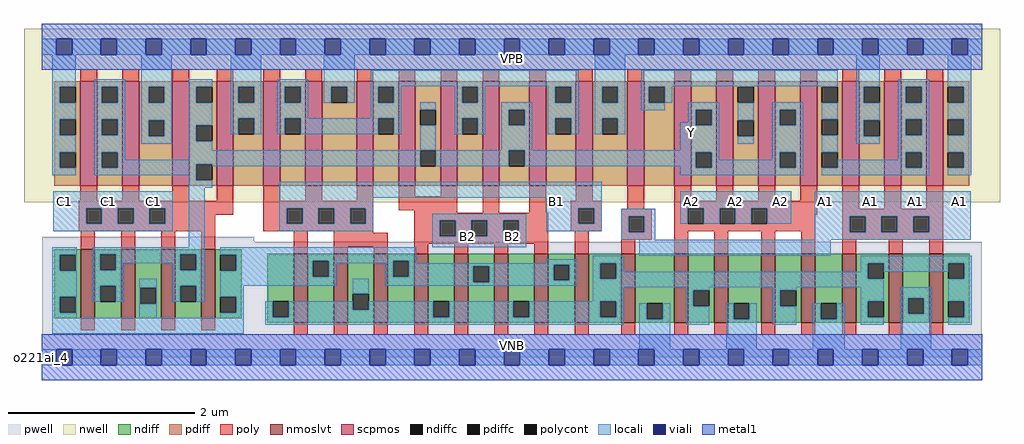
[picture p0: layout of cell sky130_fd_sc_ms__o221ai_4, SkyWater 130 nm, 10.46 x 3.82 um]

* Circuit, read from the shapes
.subckt sky130_fd_sc_ms__o221ai_4 A1 A2 B1 B2 C1 VGND VNB VPB VPWR Y
XM1 Y C1 n1 VNB sky130_fd_pr__nfet_01v8_lvt w=0.74 l=0.15 m=4
XM2 n1 B1 n2 VNB sky130_fd_pr__nfet_01v8_lvt w=0.74 l=0.15 m=4
XM3 n2 B2 n1 VNB sky130_fd_pr__nfet_01v8_lvt w=0.74 l=0.15 m=4
XM4 VGND A1 n2 VNB sky130_fd_pr__nfet_01v8_lvt w=0.74 l=0.15 m=4
XM5 n2 A2 VGND VNB sky130_fd_pr__nfet_01v8_lvt w=0.74 l=0.15 m=4
XM6 Y C1 VPWR VPB sky130_fd_pr__pfet_01v8 w=1.12 l=0.18 m=4
XM7 n3 B1 VPWR VPB sky130_fd_pr__pfet_01v8 w=1.12 l=0.18 m=4
XM8 Y B2 n3 VPB sky130_fd_pr__pfet_01v8 w=1.12 l=0.18 m=4
XM9 n4 A1 VPWR VPB sky130_fd_pr__pfet_01v8 w=1.12 l=0.18 m=4
XM10 Y A2 n4 VPB sky130_fd_pr__pfet_01v8 w=1.12 l=0.18 m=4
.ends

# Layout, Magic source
magic
tech sky130A
magscale 1 2
<< nwell >>
rect -38 332 2054 704
<< pwell >>
rect 1 248 455 258
rect 1 49 2015 248
rect 0 0 2016 49
<< scpmos >>
rect 83 368 119 592
rect 173 368 209 592
rect 280 368 316 592
rect 375 368 411 592
rect 475 368 511 592
rect 565 368 601 592
rect 675 368 711 592
rect 765 368 801 592
rect 855 368 891 592
rect 945 368 981 592
rect 1045 368 1081 592
rect 1145 368 1181 592
rect 1255 368 1291 592
rect 1356 368 1392 592
rect 1446 368 1482 592
rect 1536 368 1572 592
rect 1626 368 1662 592
rect 1716 368 1752 592
rect 1806 368 1842 592
rect 1896 368 1932 592
<< nmoslvt >>
rect 84 84 114 232
rect 170 84 200 232
rect 256 84 286 232
rect 342 84 372 232
rect 540 74 570 222
rect 626 74 656 222
rect 712 74 742 222
rect 798 74 828 222
rect 884 74 914 222
rect 970 74 1000 222
rect 1056 74 1086 222
rect 1142 74 1172 222
rect 1242 74 1272 222
rect 1356 74 1386 222
rect 1442 74 1472 222
rect 1542 74 1572 222
rect 1628 74 1658 222
rect 1716 74 1746 222
rect 1816 74 1846 222
rect 1902 74 1932 222
<< ndiff >>
rect 27 220 84 232
rect 27 186 39 220
rect 73 186 84 220
rect 27 130 84 186
rect 27 96 39 130
rect 73 96 84 130
rect 27 84 84 96
rect 114 221 170 232
rect 114 187 125 221
rect 159 187 170 221
rect 114 153 170 187
rect 114 119 125 153
rect 159 119 170 153
rect 114 84 170 119
rect 200 149 256 232
rect 200 115 211 149
rect 245 115 256 149
rect 200 84 256 115
rect 286 221 342 232
rect 286 187 297 221
rect 331 187 342 221
rect 286 153 342 187
rect 286 119 297 153
rect 331 119 342 153
rect 286 84 342 119
rect 372 220 429 232
rect 372 186 383 220
rect 417 186 429 220
rect 372 130 429 186
rect 372 96 383 130
rect 417 96 429 130
rect 372 84 429 96
rect 483 120 540 222
rect 483 86 495 120
rect 529 86 540 120
rect 483 74 540 86
rect 570 207 626 222
rect 570 173 581 207
rect 615 173 626 207
rect 570 74 626 173
rect 656 136 712 222
rect 656 102 667 136
rect 701 102 712 136
rect 656 74 712 102
rect 742 207 798 222
rect 742 173 753 207
rect 787 173 798 207
rect 742 74 798 173
rect 828 120 884 222
rect 828 86 839 120
rect 873 86 884 120
rect 828 74 884 86
rect 914 195 970 222
rect 914 161 925 195
rect 959 161 970 195
rect 914 74 970 161
rect 1000 120 1056 222
rect 1000 86 1011 120
rect 1045 86 1056 120
rect 1000 74 1056 86
rect 1086 199 1142 222
rect 1086 165 1097 199
rect 1131 165 1142 199
rect 1086 74 1142 165
rect 1172 202 1242 222
rect 1172 168 1197 202
rect 1231 168 1242 202
rect 1172 120 1242 168
rect 1172 86 1197 120
rect 1231 86 1242 120
rect 1172 74 1242 86
rect 1272 116 1356 222
rect 1272 82 1297 116
rect 1331 82 1356 116
rect 1272 74 1356 82
rect 1386 144 1442 222
rect 1386 110 1397 144
rect 1431 110 1442 144
rect 1386 74 1442 110
rect 1472 116 1542 222
rect 1472 82 1483 116
rect 1517 82 1542 116
rect 1472 74 1542 82
rect 1572 144 1628 222
rect 1572 110 1583 144
rect 1617 110 1628 144
rect 1572 74 1628 110
rect 1658 116 1716 222
rect 1658 82 1670 116
rect 1704 82 1716 116
rect 1658 74 1716 82
rect 1746 202 1816 222
rect 1746 168 1771 202
rect 1805 168 1816 202
rect 1746 120 1816 168
rect 1746 86 1771 120
rect 1805 86 1816 120
rect 1746 74 1816 86
rect 1846 127 1902 222
rect 1846 93 1857 127
rect 1891 93 1902 127
rect 1846 74 1902 93
rect 1932 202 1989 222
rect 1932 168 1943 202
rect 1977 168 1989 202
rect 1932 120 1989 168
rect 1932 86 1943 120
rect 1977 86 1989 120
rect 1932 74 1989 86
<< pdiff >>
rect 27 580 83 592
rect 27 546 39 580
rect 73 546 83 580
rect 27 510 83 546
rect 27 476 39 510
rect 73 476 83 510
rect 27 440 83 476
rect 27 406 39 440
rect 73 406 83 440
rect 27 368 83 406
rect 119 580 173 592
rect 119 546 129 580
rect 163 546 173 580
rect 119 510 173 546
rect 119 476 129 510
rect 163 476 173 510
rect 119 440 173 476
rect 119 406 129 440
rect 163 406 173 440
rect 119 368 173 406
rect 209 580 280 592
rect 209 546 229 580
rect 263 546 280 580
rect 209 508 280 546
rect 209 474 229 508
rect 263 474 280 508
rect 209 368 280 474
rect 316 580 375 592
rect 316 546 331 580
rect 365 546 375 580
rect 316 497 375 546
rect 316 463 331 497
rect 365 463 375 497
rect 316 414 375 463
rect 316 380 331 414
rect 365 380 375 414
rect 316 368 375 380
rect 411 580 475 592
rect 411 546 421 580
rect 455 546 475 580
rect 411 512 475 546
rect 411 478 421 512
rect 455 478 475 512
rect 411 368 475 478
rect 511 580 565 592
rect 511 546 521 580
rect 555 546 565 580
rect 511 512 565 546
rect 511 478 521 512
rect 555 478 565 512
rect 511 368 565 478
rect 601 580 675 592
rect 601 546 621 580
rect 655 546 675 580
rect 601 368 675 546
rect 711 580 765 592
rect 711 546 721 580
rect 755 546 765 580
rect 711 512 765 546
rect 711 478 721 512
rect 755 478 765 512
rect 711 368 765 478
rect 801 531 855 592
rect 801 497 811 531
rect 845 497 855 531
rect 801 444 855 497
rect 801 410 811 444
rect 845 410 855 444
rect 801 368 855 410
rect 891 580 945 592
rect 891 546 901 580
rect 935 546 945 580
rect 891 512 945 546
rect 891 478 901 512
rect 935 478 945 512
rect 891 368 945 478
rect 981 531 1045 592
rect 981 497 1001 531
rect 1035 497 1045 531
rect 981 444 1045 497
rect 981 410 1001 444
rect 1035 410 1045 444
rect 981 368 1045 410
rect 1081 580 1145 592
rect 1081 546 1101 580
rect 1135 546 1145 580
rect 1081 512 1145 546
rect 1081 478 1101 512
rect 1135 478 1145 512
rect 1081 368 1145 478
rect 1181 580 1255 592
rect 1181 546 1201 580
rect 1235 546 1255 580
rect 1181 512 1255 546
rect 1181 478 1201 512
rect 1235 478 1255 512
rect 1181 368 1255 478
rect 1291 580 1356 592
rect 1291 546 1301 580
rect 1335 546 1356 580
rect 1291 368 1356 546
rect 1392 531 1446 592
rect 1392 497 1402 531
rect 1436 497 1446 531
rect 1392 440 1446 497
rect 1392 406 1402 440
rect 1436 406 1446 440
rect 1392 368 1446 406
rect 1482 580 1536 592
rect 1482 546 1492 580
rect 1526 546 1536 580
rect 1482 508 1536 546
rect 1482 474 1492 508
rect 1526 474 1536 508
rect 1482 368 1536 474
rect 1572 531 1626 592
rect 1572 497 1582 531
rect 1616 497 1626 531
rect 1572 440 1626 497
rect 1572 406 1582 440
rect 1616 406 1626 440
rect 1572 368 1626 406
rect 1662 580 1716 592
rect 1662 546 1672 580
rect 1706 546 1716 580
rect 1662 510 1716 546
rect 1662 476 1672 510
rect 1706 476 1716 510
rect 1662 440 1716 476
rect 1662 406 1672 440
rect 1706 406 1716 440
rect 1662 368 1716 406
rect 1752 580 1806 592
rect 1752 546 1762 580
rect 1796 546 1806 580
rect 1752 508 1806 546
rect 1752 474 1762 508
rect 1796 474 1806 508
rect 1752 368 1806 474
rect 1842 580 1896 592
rect 1842 546 1852 580
rect 1886 546 1896 580
rect 1842 510 1896 546
rect 1842 476 1852 510
rect 1886 476 1896 510
rect 1842 440 1896 476
rect 1842 406 1852 440
rect 1886 406 1896 440
rect 1842 368 1896 406
rect 1932 580 1988 592
rect 1932 546 1942 580
rect 1976 546 1988 580
rect 1932 510 1988 546
rect 1932 476 1942 510
rect 1976 476 1988 510
rect 1932 440 1988 476
rect 1932 406 1942 440
rect 1976 406 1988 440
rect 1932 368 1988 406
<< ndiffc >>
rect 39 186 73 220
rect 39 96 73 130
rect 125 187 159 221
rect 125 119 159 153
rect 211 115 245 149
rect 297 187 331 221
rect 297 119 331 153
rect 383 186 417 220
rect 383 96 417 130
rect 495 86 529 120
rect 581 173 615 207
rect 667 102 701 136
rect 753 173 787 207
rect 839 86 873 120
rect 925 161 959 195
rect 1011 86 1045 120
rect 1097 165 1131 199
rect 1197 168 1231 202
rect 1197 86 1231 120
rect 1297 82 1331 116
rect 1397 110 1431 144
rect 1483 82 1517 116
rect 1583 110 1617 144
rect 1670 82 1704 116
rect 1771 168 1805 202
rect 1771 86 1805 120
rect 1857 93 1891 127
rect 1943 168 1977 202
rect 1943 86 1977 120
<< pdiffc >>
rect 39 546 73 580
rect 39 476 73 510
rect 39 406 73 440
rect 129 546 163 580
rect 129 476 163 510
rect 129 406 163 440
rect 229 546 263 580
rect 229 474 263 508
rect 331 546 365 580
rect 331 463 365 497
rect 331 380 365 414
rect 421 546 455 580
rect 421 478 455 512
rect 521 546 555 580
rect 521 478 555 512
rect 621 546 655 580
rect 721 546 755 580
rect 721 478 755 512
rect 811 497 845 531
rect 811 410 845 444
rect 901 546 935 580
rect 901 478 935 512
rect 1001 497 1035 531
rect 1001 410 1035 444
rect 1101 546 1135 580
rect 1101 478 1135 512
rect 1201 546 1235 580
rect 1201 478 1235 512
rect 1301 546 1335 580
rect 1402 497 1436 531
rect 1402 406 1436 440
rect 1492 546 1526 580
rect 1492 474 1526 508
rect 1582 497 1616 531
rect 1582 406 1616 440
rect 1672 546 1706 580
rect 1672 476 1706 510
rect 1672 406 1706 440
rect 1762 546 1796 580
rect 1762 474 1796 508
rect 1852 546 1886 580
rect 1852 476 1886 510
rect 1852 406 1886 440
rect 1942 546 1976 580
rect 1942 476 1976 510
rect 1942 406 1976 440
<< poly >>
rect 83 592 119 618
rect 173 592 209 618
rect 280 592 316 618
rect 375 592 411 618
rect 475 592 511 618
rect 565 592 601 618
rect 675 592 711 618
rect 765 592 801 618
rect 855 592 891 618
rect 945 592 981 618
rect 1045 592 1081 618
rect 1145 592 1181 618
rect 1255 592 1291 618
rect 1356 592 1392 618
rect 1446 592 1482 618
rect 1536 592 1572 618
rect 1626 592 1662 618
rect 1716 592 1752 618
rect 1806 592 1842 618
rect 1896 592 1932 618
rect 83 336 119 368
rect 173 336 209 368
rect 280 336 316 368
rect 375 336 411 368
rect 79 320 411 336
rect 79 286 95 320
rect 129 286 163 320
rect 197 286 231 320
rect 265 306 411 320
rect 475 336 511 368
rect 565 336 601 368
rect 675 336 711 368
rect 475 320 711 336
rect 265 286 372 306
rect 79 270 372 286
rect 475 286 525 320
rect 559 286 593 320
rect 627 286 661 320
rect 695 286 711 320
rect 765 345 801 368
rect 855 345 891 368
rect 765 315 891 345
rect 475 270 711 286
rect 84 232 114 270
rect 170 232 200 270
rect 256 232 286 270
rect 342 232 372 270
rect 540 222 570 270
rect 626 267 711 270
rect 798 310 891 315
rect 945 310 981 368
rect 1045 310 1081 368
rect 1145 336 1181 368
rect 1134 320 1200 336
rect 798 294 1086 310
rect 626 237 742 267
rect 626 222 656 237
rect 712 222 742 237
rect 798 260 853 294
rect 887 260 921 294
rect 955 260 989 294
rect 1023 260 1086 294
rect 1134 286 1150 320
rect 1184 286 1200 320
rect 1255 318 1291 368
rect 1356 336 1392 368
rect 1446 336 1482 368
rect 1536 336 1572 368
rect 1626 336 1662 368
rect 1356 320 1662 336
rect 1134 270 1200 286
rect 1242 302 1308 318
rect 798 244 1086 260
rect 798 222 828 244
rect 884 222 914 244
rect 970 222 1000 244
rect 1056 222 1086 244
rect 1142 222 1172 270
rect 1242 268 1258 302
rect 1292 268 1308 302
rect 1242 252 1308 268
rect 1356 286 1385 320
rect 1419 286 1453 320
rect 1487 286 1521 320
rect 1555 306 1662 320
rect 1716 318 1752 368
rect 1806 318 1842 368
rect 1896 318 1932 368
rect 1555 286 1658 306
rect 1356 270 1658 286
rect 1242 222 1272 252
rect 1356 222 1386 270
rect 1442 222 1472 270
rect 1542 222 1572 270
rect 1628 222 1658 270
rect 1716 302 1932 318
rect 1716 268 1732 302
rect 1766 268 1800 302
rect 1834 268 1868 302
rect 1902 268 1932 302
rect 1716 252 1932 268
rect 1716 222 1746 252
rect 1816 222 1846 252
rect 1902 222 1932 252
rect 84 58 114 84
rect 170 58 200 84
rect 256 58 286 84
rect 342 58 372 84
rect 540 48 570 74
rect 626 48 656 74
rect 712 48 742 74
rect 798 48 828 74
rect 884 48 914 74
rect 970 48 1000 74
rect 1056 48 1086 74
rect 1142 48 1172 74
rect 1242 48 1272 74
rect 1356 48 1386 74
rect 1442 48 1472 74
rect 1542 48 1572 74
rect 1628 48 1658 74
rect 1716 48 1746 74
rect 1816 48 1846 74
rect 1902 48 1932 74
<< polycont >>
rect 95 286 129 320
rect 163 286 197 320
rect 231 286 265 320
rect 525 286 559 320
rect 593 286 627 320
rect 661 286 695 320
rect 853 260 887 294
rect 921 260 955 294
rect 989 260 1023 294
rect 1150 286 1184 320
rect 1258 268 1292 302
rect 1385 286 1419 320
rect 1453 286 1487 320
rect 1521 286 1555 320
rect 1732 268 1766 302
rect 1800 268 1834 302
rect 1868 268 1902 302
<< locali >>
rect 0 649 31 683
rect 65 649 127 683
rect 161 649 223 683
rect 257 649 319 683
rect 353 649 415 683
rect 449 649 511 683
rect 545 649 607 683
rect 641 649 703 683
rect 737 649 799 683
rect 833 649 895 683
rect 929 649 991 683
rect 1025 649 1087 683
rect 1121 649 1183 683
rect 1217 649 1279 683
rect 1313 649 1375 683
rect 1409 649 1471 683
rect 1505 649 1567 683
rect 1601 649 1663 683
rect 1697 649 1759 683
rect 1793 649 1855 683
rect 1889 649 1951 683
rect 1985 649 2016 683
rect 23 580 73 649
rect 23 546 39 580
rect 23 510 73 546
rect 23 476 39 510
rect 23 440 73 476
rect 23 406 39 440
rect 23 390 73 406
rect 113 580 179 596
rect 113 546 129 580
rect 163 546 179 580
rect 113 510 179 546
rect 113 476 129 510
rect 163 476 179 510
rect 113 440 179 476
rect 213 580 279 649
rect 213 546 229 580
rect 263 546 279 580
rect 213 508 279 546
rect 213 474 229 508
rect 263 474 279 508
rect 213 458 279 474
rect 315 580 365 596
rect 315 546 331 580
rect 315 497 365 546
rect 315 463 331 497
rect 405 580 471 649
rect 405 546 421 580
rect 455 546 471 580
rect 405 512 471 546
rect 405 478 421 512
rect 455 478 471 512
rect 505 580 571 596
rect 505 546 521 580
rect 555 546 571 580
rect 605 580 671 649
rect 605 546 621 580
rect 655 546 671 580
rect 705 581 1151 615
rect 705 580 771 581
rect 705 546 721 580
rect 755 546 771 580
rect 885 580 951 581
rect 505 512 571 546
rect 705 512 771 546
rect 505 478 521 512
rect 555 478 721 512
rect 755 478 771 512
rect 811 531 845 547
rect 113 406 129 440
rect 163 424 179 440
rect 315 444 365 463
rect 811 444 845 497
rect 885 546 901 580
rect 935 546 951 580
rect 1085 580 1151 581
rect 885 512 951 546
rect 885 478 901 512
rect 935 478 951 512
rect 985 531 1051 547
rect 985 497 1001 531
rect 1035 497 1051 531
rect 985 444 1051 497
rect 1085 546 1101 580
rect 1135 546 1151 580
rect 1085 512 1151 546
rect 1085 478 1101 512
rect 1135 478 1151 512
rect 1185 580 1251 649
rect 1185 546 1201 580
rect 1235 546 1251 580
rect 1185 512 1251 546
rect 1285 581 1706 615
rect 1285 580 1352 581
rect 1285 546 1301 580
rect 1335 546 1352 580
rect 1492 580 1526 581
rect 1285 530 1335 546
rect 1386 531 1452 547
rect 1185 478 1201 512
rect 1235 478 1251 512
rect 1386 504 1402 531
rect 1369 497 1402 504
rect 1436 497 1452 531
rect 1369 444 1452 497
rect 1672 580 1706 581
rect 1492 508 1526 546
rect 1492 458 1526 474
rect 1566 531 1632 547
rect 1566 497 1582 531
rect 1616 497 1632 531
rect 315 424 811 444
rect 163 414 811 424
rect 163 406 331 414
rect 113 390 331 406
rect 315 380 331 390
rect 365 410 811 414
rect 845 410 1001 444
rect 1035 440 1452 444
rect 1035 410 1402 440
rect 1369 406 1402 410
rect 1436 424 1452 440
rect 1566 440 1632 497
rect 1566 424 1582 440
rect 1436 406 1582 424
rect 1616 406 1632 440
rect 1369 390 1632 406
rect 1672 510 1706 546
rect 1672 440 1706 476
rect 1746 580 1796 649
rect 1746 546 1762 580
rect 1746 508 1796 546
rect 1746 474 1762 508
rect 1746 458 1796 474
rect 1836 580 1902 596
rect 1836 546 1852 580
rect 1886 546 1902 580
rect 1836 510 1902 546
rect 1836 476 1852 510
rect 1886 476 1902 510
rect 1836 440 1902 476
rect 1836 424 1852 440
rect 1706 406 1852 424
rect 1886 406 1902 440
rect 1672 390 1902 406
rect 1942 580 1992 649
rect 1976 546 1992 580
rect 1942 510 1992 546
rect 1976 476 1992 510
rect 1942 440 1992 476
rect 1976 406 1992 440
rect 1942 390 1992 406
rect 315 364 365 380
rect 25 320 281 356
rect 25 286 95 320
rect 129 286 163 320
rect 197 286 231 320
rect 265 286 281 320
rect 25 270 281 286
rect 315 236 349 364
rect 509 342 1200 376
rect 509 320 711 342
rect 509 286 525 320
rect 559 286 593 320
rect 627 286 661 320
rect 695 286 711 320
rect 1081 320 1200 342
rect 509 270 711 286
rect 837 294 1039 308
rect 837 260 853 294
rect 887 260 921 294
rect 955 260 989 294
rect 1023 260 1039 294
rect 1081 286 1150 320
rect 1184 286 1200 320
rect 1369 320 1607 356
rect 1081 270 1200 286
rect 1242 302 1315 318
rect 837 236 1039 260
rect 1242 268 1258 302
rect 1292 268 1315 302
rect 1369 286 1385 320
rect 1419 286 1453 320
rect 1487 286 1521 320
rect 1555 286 1607 320
rect 1657 302 1991 356
rect 1242 252 1315 268
rect 1657 268 1732 302
rect 1766 268 1800 302
rect 1834 268 1868 302
rect 1902 268 1991 302
rect 1657 252 1991 268
rect 23 220 75 236
rect 23 186 39 220
rect 73 186 75 220
rect 23 130 75 186
rect 23 96 39 130
rect 73 96 75 130
rect 109 221 349 236
rect 109 187 125 221
rect 159 202 297 221
rect 159 187 175 202
rect 109 153 175 187
rect 281 187 297 202
rect 331 187 349 221
rect 109 119 125 153
rect 159 119 175 153
rect 209 149 247 168
rect 23 85 75 96
rect 209 115 211 149
rect 245 115 247 149
rect 281 153 349 187
rect 281 119 297 153
rect 331 119 349 153
rect 383 220 803 236
rect 417 207 803 220
rect 1281 218 1691 252
rect 417 186 581 207
rect 383 173 581 186
rect 615 202 753 207
rect 615 173 631 202
rect 383 154 631 173
rect 737 173 753 202
rect 787 202 803 207
rect 1081 202 1147 210
rect 787 199 1147 202
rect 787 195 1097 199
rect 787 173 925 195
rect 383 130 433 154
rect 209 85 247 115
rect 417 96 433 130
rect 667 136 701 168
rect 737 161 925 173
rect 959 165 1097 195
rect 1131 165 1147 199
rect 959 161 1147 165
rect 737 154 1147 161
rect 1181 202 1247 218
rect 1181 168 1197 202
rect 1231 184 1247 202
rect 1755 202 1993 218
rect 1755 184 1771 202
rect 1231 168 1771 184
rect 1805 184 1943 202
rect 383 85 433 96
rect 23 51 433 85
rect 479 86 495 120
rect 529 102 667 120
rect 1181 150 1805 168
rect 1977 168 1993 202
rect 1181 120 1247 150
rect 701 102 839 120
rect 529 86 839 102
rect 873 86 1011 120
rect 1045 86 1197 120
rect 1231 86 1247 120
rect 1381 144 1431 150
rect 479 70 1247 86
rect 1281 82 1297 116
rect 1331 82 1347 116
rect 1281 17 1347 82
rect 1381 110 1397 144
rect 1567 144 1617 150
rect 1381 70 1431 110
rect 1467 82 1483 116
rect 1517 82 1533 116
rect 1467 17 1533 82
rect 1567 110 1583 144
rect 1755 120 1805 150
rect 1567 70 1617 110
rect 1653 82 1670 116
rect 1704 82 1721 116
rect 1653 17 1721 82
rect 1755 86 1771 120
rect 1755 70 1805 86
rect 1841 127 1907 150
rect 1841 93 1857 127
rect 1891 93 1907 127
rect 1841 17 1907 93
rect 1943 120 1993 168
rect 1977 86 1993 120
rect 1943 70 1993 86
rect 0 -17 31 17
rect 65 -17 127 17
rect 161 -17 223 17
rect 257 -17 319 17
rect 353 -17 415 17
rect 449 -17 511 17
rect 545 -17 607 17
rect 641 -17 703 17
rect 737 -17 799 17
rect 833 -17 895 17
rect 929 -17 991 17
rect 1025 -17 1087 17
rect 1121 -17 1183 17
rect 1217 -17 1279 17
rect 1313 -17 1375 17
rect 1409 -17 1471 17
rect 1505 -17 1567 17
rect 1601 -17 1663 17
rect 1697 -17 1759 17
rect 1793 -17 1855 17
rect 1889 -17 1951 17
rect 1985 -17 2016 17
<< viali >>
rect 31 649 65 683
rect 127 649 161 683
rect 223 649 257 683
rect 319 649 353 683
rect 415 649 449 683
rect 511 649 545 683
rect 607 649 641 683
rect 703 649 737 683
rect 799 649 833 683
rect 895 649 929 683
rect 991 649 1025 683
rect 1087 649 1121 683
rect 1183 649 1217 683
rect 1279 649 1313 683
rect 1375 649 1409 683
rect 1471 649 1505 683
rect 1567 649 1601 683
rect 1663 649 1697 683
rect 1759 649 1793 683
rect 1855 649 1889 683
rect 1951 649 1985 683
rect 31 -17 65 17
rect 127 -17 161 17
rect 223 -17 257 17
rect 319 -17 353 17
rect 415 -17 449 17
rect 511 -17 545 17
rect 607 -17 641 17
rect 703 -17 737 17
rect 799 -17 833 17
rect 895 -17 929 17
rect 991 -17 1025 17
rect 1087 -17 1121 17
rect 1183 -17 1217 17
rect 1279 -17 1313 17
rect 1375 -17 1409 17
rect 1471 -17 1505 17
rect 1567 -17 1601 17
rect 1663 -17 1697 17
rect 1759 -17 1793 17
rect 1855 -17 1889 17
rect 1951 -17 1985 17
<< metal1 >>
rect 0 683 2016 715
rect 0 649 31 683
rect 65 649 127 683
rect 161 649 223 683
rect 257 649 319 683
rect 353 649 415 683
rect 449 649 511 683
rect 545 649 607 683
rect 641 649 703 683
rect 737 649 799 683
rect 833 649 895 683
rect 929 649 991 683
rect 1025 649 1087 683
rect 1121 649 1183 683
rect 1217 649 1279 683
rect 1313 649 1375 683
rect 1409 649 1471 683
rect 1505 649 1567 683
rect 1601 649 1663 683
rect 1697 649 1759 683
rect 1793 649 1855 683
rect 1889 649 1951 683
rect 1985 649 2016 683
rect 0 617 2016 649
rect 0 17 2016 49
rect 0 -17 31 17
rect 65 -17 127 17
rect 161 -17 223 17
rect 257 -17 319 17
rect 353 -17 415 17
rect 449 -17 511 17
rect 545 -17 607 17
rect 641 -17 703 17
rect 737 -17 799 17
rect 833 -17 895 17
rect 929 -17 991 17
rect 1025 -17 1087 17
rect 1121 -17 1183 17
rect 1217 -17 1279 17
rect 1313 -17 1375 17
rect 1409 -17 1471 17
rect 1505 -17 1567 17
rect 1601 -17 1663 17
rect 1697 -17 1759 17
rect 1793 -17 1855 17
rect 1889 -17 1951 17
rect 1985 -17 2016 17
rect 0 -49 2016 -17
<< labels >>
flabel pwell s 0 0 2016 49 0 FreeSans 200 0 0 0 VNB
port 7 nsew ground bidirectional
flabel nwell s 0 617 2016 666 0 FreeSans 200 0 0 0 VPB
port 8 nsew power bidirectional
rlabel comment s 0 0 0 0 4 o221ai_4
flabel metal1 s 0 617 2016 666 0 FreeSans 340 0 0 0 VPWR
port 9 nsew power bidirectional
flabel metal1 s 0 0 2016 49 0 FreeSans 340 0 0 0 VGND
port 6 nsew ground bidirectional
flabel locali s 1087 316 1121 350 0 FreeSans 340 0 0 0 B1
port 3 nsew signal input
flabel locali s 1375 316 1409 350 0 FreeSans 340 0 0 0 A2
port 2 nsew signal input
flabel locali s 1471 316 1505 350 0 FreeSans 340 0 0 0 A2
port 2 nsew signal input
flabel locali s 1567 316 1601 350 0 FreeSans 340 0 0 0 A2
port 2 nsew signal input
flabel locali s 31 316 65 350 0 FreeSans 340 0 0 0 C1
port 5 nsew signal input
flabel locali s 127 316 161 350 0 FreeSans 340 0 0 0 C1
port 5 nsew signal input
flabel locali s 223 316 257 350 0 FreeSans 340 0 0 0 C1
port 5 nsew signal input
flabel locali s 895 242 929 276 0 FreeSans 340 0 0 0 B2
port 4 nsew signal input
flabel locali s 991 242 1025 276 0 FreeSans 340 0 0 0 B2
port 4 nsew signal input
flabel locali s 1375 464 1409 498 0 FreeSans 340 0 0 0 Y
port 10 nsew signal output
flabel locali s 1663 316 1697 350 0 FreeSans 340 0 0 0 A1
port 1 nsew signal input
flabel locali s 1759 316 1793 350 0 FreeSans 340 0 0 0 A1
port 1 nsew signal input
flabel locali s 1855 316 1889 350 0 FreeSans 340 0 0 0 A1
port 1 nsew signal input
flabel locali s 1951 316 1985 350 0 FreeSans 340 0 0 0 A1
port 1 nsew signal input
<< properties >>
string LEFsite unit
string LEFclass CORE
string FIXED_BBOX 0 0 2016 666
string GDS_FILE $PDKPATH/libs.ref/sky130_fd_sc_ms/gds/sky130_fd_sc_ms.gds
string LEFsymmetry X Y
string GDS_END 2926538
string GDS_START 2911064
<< end >>
